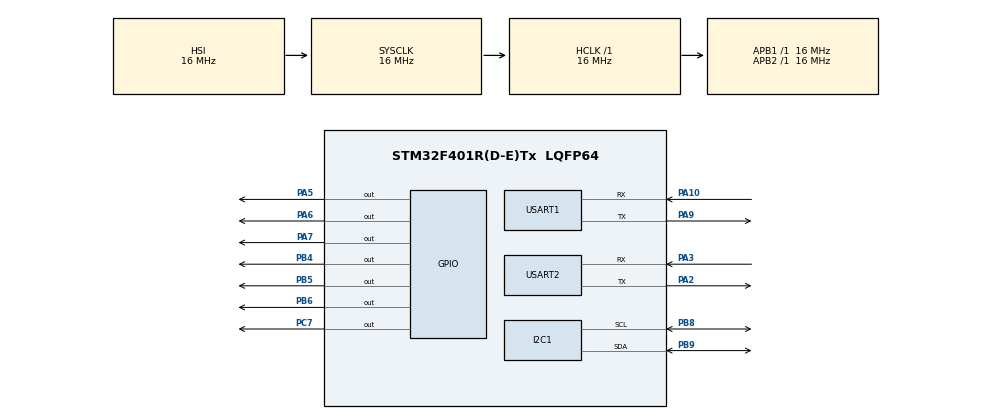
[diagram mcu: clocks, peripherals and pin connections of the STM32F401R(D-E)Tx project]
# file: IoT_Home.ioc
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Mcu.Family=STM32F4
Mcu.Name=STM32F401R(D-E)Tx
Mcu.Package=LQFP64
NVIC.PriorityGroup=NVIC_PRIORITYGROUP_4
PA10.Mode=Asynchronous
PA10.Signal=USART1_RX
PA2.Mode=Asynchronous
PA2.Signal=USART2_TX
PA3.Mode=Asynchronous
PA3.Signal=USART2_RX
PA5.Signal=GPIO_Output
PA6.Signal=GPIO_Output
PA7.Signal=GPIO_Output
PA9.Mode=Asynchronous
PA9.Signal=USART1_TX
PB4.Signal=GPIO_Output
PB5.Signal=GPIO_Output
PB6.Signal=GPIO_Output
PB8.Mode=I2C
PB8.Signal=I2C1_SCL
PB9.Mode=I2C
PB9.Signal=I2C1_SDA
PC7.Signal=GPIO_Output
ProjectManager.HeapSize=0x200
ProjectManager.StackSize=0x400
ProjectManager.TargetToolchain=STM32CubeIDE
RCC.AHBFreq_Value=16000000
RCC.APB1Freq_Value=16000000
RCC.APB2Freq_Value=16000000
RCC.CortexFreq_Value=16000000
RCC.HSE_VALUE=25000000
RCC.HSI_VALUE=16000000
RCC.LSE_VALUE=32768
RCC.SYSCLKFreq_VALUE=16000000
RCC.VCOOutputFreq_Value=192000000
USART1.VirtualMode=VM_ASYNC
USART2.VirtualMode=VM_ASYNC
board=custom

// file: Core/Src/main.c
/* USER CODE BEGIN Header */
/**
  ******************************************************************************
  * @file           : main.c
  * @brief          : Main program body
  ******************************************************************************
  * @attention
  *
  * Copyright (c) 2025 STMicroelectronics.
  * All rights reserved.
  *
  * This software is licensed under terms that can be found in the LICENSE file
  * in the root directory of this software component.
  * If no LICENSE file comes with this software, it is provided AS-IS.
  *
  ******************************************************************************
  */
/* USER CODE END Header */
#include "main.h"
#include "i2c.h"
#include "usart.h"
#include "gpio.h"

/* USER CODE BEGIN Includes */
#include "bmp280.h"
#include "lcd.h"

/* USER CODE END Includes */

/* USER CODE BEGIN PV */
BMP280_HandleTypedef bmp280;

float pressure, temperature, humidity;

uint16_t bmp_size;
uint8_t Data[256];
uint8_t esp_buffer[35];
uint16_t esp_msg_size;

/* USER CODE END PV */

void SystemClock_Config(void);

int main(void)
{

  /* MCU Configuration--------------------------------------------------------*/

  /* Reset of all peripherals, Initializes the Flash interface and the Systick. */
  HAL_Init();

  /* Configure the system clock */
  SystemClock_Config();

  /* Initialize all configured peripherals */
  MX_GPIO_Init();
  MX_I2C1_Init();
  MX_USART2_UART_Init();
  MX_USART1_UART_Init();
  /* USER CODE BEGIN 2 */

  //Set up BMP280
  bmp280_init_default_params(&bmp280.params);
  bmp280.addr = BMP280_I2C_ADDRESS_1;
  bmp280.i2c = &hi2c1;

  //Search for the sensor
  while (!bmp280_init(&bmp280, &bmp280.params)) {
  		bmp_size = sprintf((char *)Data, "BMP280 init failed\r\n");
      HAL_UART_Transmit(&huart2, Data, bmp_size, 1000);
      HAL_Delay(2000);
  }
  bool bme280p = bmp280.id == BME280_CHIP_ID;
  printf("BMP280: found %s\r\n", bme280p ? "BME280" : "BMP280");

  // --- LCD init ---
  Lcd_PortType ports[] = { GPIOC, GPIOB, GPIOA, GPIOA };
  Lcd_PinType  pins[]  = { GPIO_PIN_7, GPIO_PIN_6, GPIO_PIN_7, GPIO_PIN_6 };
  Lcd_HandleTypeDef lcd;
  lcd = Lcd_create(ports, pins, GPIOB, GPIO_PIN_5, GPIOB, GPIO_PIN_4, LCD_4_BIT_MODE);
  Lcd_clear(&lcd);
  /* USER CODE END 2 */

  //Start loop for measuring and sending values to LCD and ESP
  while (1) {
      HAL_Delay(100);
      // Send the values to LCD (uart2) and the ESO(uart1)
      if (bmp280_read_float(&bmp280, &temperature, &pressure, &humidity)) {
          // --- line 1: temperature ---
          char line1[16];
          snprintf(line1, sizeof(line1), "Temp: %.2fC", temperature);
          //Move cursor to row 0, col 0
          Lcd_cursor(&lcd, 0, 0);
          Lcd_string(&lcd, line1);

          // --- line 2: pressure ---
          char line2[16];
          snprintf(line2, sizeof(line2), "Pres: %.1fhPa", pressure / 100.0f);
          //Move cursor to row 1, col 0
          Lcd_cursor(&lcd, 1, 0);
          Lcd_string(&lcd, line2);
          esp_msg_size = sprintf((char *)esp_buffer, "{\"t\":%.2f,\"p\":%.1f}\n", temperature, pressure / 100.0f);
          HAL_UART_Transmit(&huart2, esp_buffer, esp_msg_size, 1000);
          HAL_UART_Transmit(&huart1, esp_buffer, esp_msg_size, 1000);
          HAL_Delay(1000);

      } else {
          Lcd_clear(&lcd);
          Lcd_cursor(&lcd, 0, 0);
          Lcd_string(&lcd, "Read failed");
      }

      HAL_Delay(2000);
  }
    /* USER CODE END WHILE */

}

void SystemClock_Config(void)
{
  RCC_OscInitTypeDef RCC_OscInitStruct = {0};
  RCC_ClkInitTypeDef RCC_ClkInitStruct = {0};

  /** Configure the main internal regulator output voltage
  */
  __HAL_RCC_PWR_CLK_ENABLE();
  __HAL_PWR_VOLTAGESCALING_CONFIG(PWR_REGULATOR_VOLTAGE_SCALE2);

  /** Initializes the RCC Oscillators according to the specified parameters
  * in the RCC_OscInitTypeDef structure.
  */
  RCC_OscInitStruct.OscillatorType = RCC_OSCILLATORTYPE_HSI;
  RCC_OscInitStruct.HSIState = RCC_HSI_ON;
  RCC_OscInitStruct.HSICalibrationValue = RCC_HSICALIBRATION_DEFAULT;
  RCC_OscInitStruct.PLL.PLLState = RCC_PLL_NONE;
  if (HAL_RCC_OscConfig(&RCC_OscInitStruct) != HAL_OK)
  {
    Error_Handler();
  }

  /** Initializes the CPU, AHB and APB buses clocks
  */
  RCC_ClkInitStruct.ClockType = RCC_CLOCKTYPE_HCLK|RCC_CLOCKTYPE_SYSCLK
                              |RCC_CLOCKTYPE_PCLK1|RCC_CLOCKTYPE_PCLK2;
  RCC_ClkInitStruct.SYSCLKSource = RCC_SYSCLKSOURCE_HSI;
  RCC_ClkInitStruct.AHBCLKDivider = RCC_SYSCLK_DIV1;
  RCC_ClkInitStruct.APB1CLKDivider = RCC_HCLK_DIV1;
  RCC_ClkInitStruct.APB2CLKDivider = RCC_HCLK_DIV1;

  if (HAL_RCC_ClockConfig(&RCC_ClkInitStruct, FLASH_LATENCY_0) != HAL_OK)
  {
    Error_Handler();
  }
}

void Error_Handler(void)
{
  __disable_irq();
  while (1)
  {
  }
}
